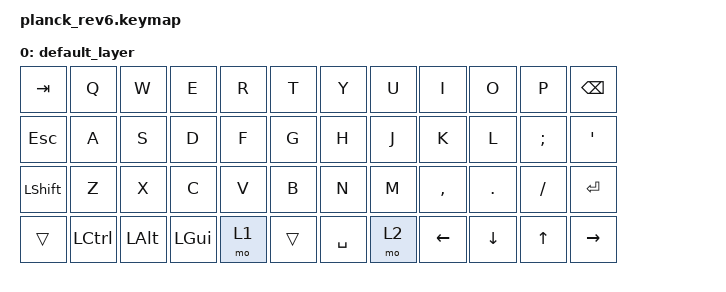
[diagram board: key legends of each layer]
/*
 * Copyright (c) 2020 The ZMK Contributors
 *
 * SPDX-License-Identifier: MIT
 */

#include <behaviors.dtsi>
#include <dt-bindings/zmk/keys.h>

/ {
    keymap {
        compatible = "zmk,keymap";

        default_layer {
            bindings = <
                &kp TAB  &kp Q    &kp W &kp E &kp R &kp T  &kp Y   &kp U  &kp I    &kp O   &kp P    &kp BSPC
                &kp ESC  &kp A    &kp S &kp D &kp F &kp G  &kp H   &kp J  &kp K    &kp L   &kp SEMI &kp SQT
                &kp LSHFT &kp Z    &kp X &kp C &kp V &kp B  &kp N   &kp M  &kp COMMA &kp DOT &kp SLASH &kp RET
                &trans   &kp LCTRL &kp LALT &kp LGUI &mo 1 &trans &kp SPACE &mo 2 &kp LEFT &kp DOWN &kp UP &kp RIGHT
            >;
        };
    };
};
